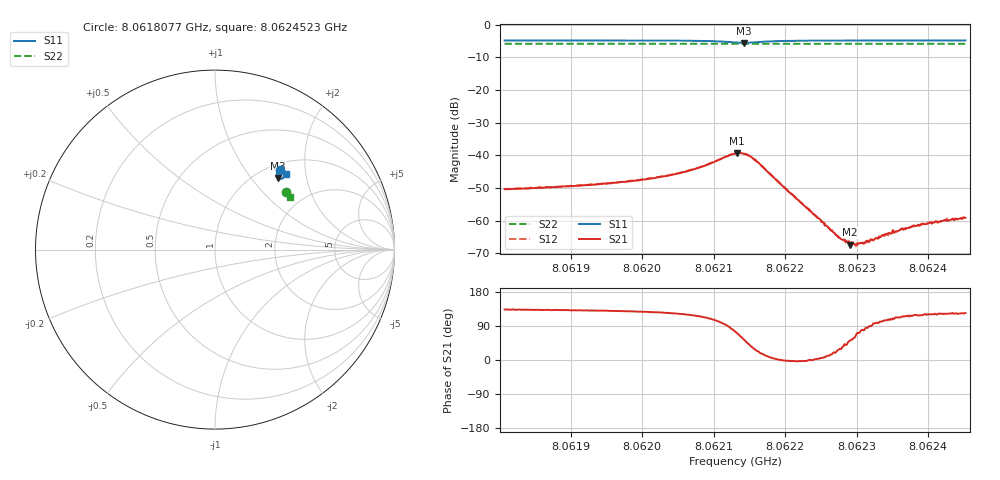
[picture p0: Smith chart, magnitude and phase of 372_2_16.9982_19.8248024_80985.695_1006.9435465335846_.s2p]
#  HZ  S  RI  R  50.00
! Rohde & Schwarz Vector Network Analyzer
! Rohde-Schwarz,ZNB20-2Port,1311601062101988,3.16
! Created: UTC 3/20/2024, 11:08:47 PM
! freq[Hz]  re:S11  im:S11  re:S21  im:S21  re:S12  im:S12  re:S22  im:S22
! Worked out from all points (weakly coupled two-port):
!   401 points, 8.0618077 GHz to 8.0624523 GHz, reference 50 ohm
!   highest |S21| = -39.26 dB at 8.0621332 GHz (marker M1); lowest = -67.4 dB at 8.0622912 GHz (marker M2)
!   lowest |S11| = -5.5 dB at 8.0621429 GHz (marker M3), VSWR 3.25, Z = 61.8 + j68.4 ohm
!   |S11| at or under -10 dB: nowhere
!   |S22| runs from -5.9 to -5.8 dB; largest |S21 - S12| = 0.00074
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8.0618077e9  0.3646 0.4459  -0.00208 0.00221  -0.00195 0.00236  0.3975 0.3233
8.06191567e9  0.3722 0.4394  -0.00225 0.0026  -0.00213 0.00275  0.4017 0.318
8.06198014e9  0.377 0.4343  -0.0025 0.00311  -0.00231 0.00328  0.4042 0.3146
8.06202365e9  0.3807 0.4296  -0.00269 0.00375  -0.00247 0.00394  0.4056 0.3123
8.062072e9  0.3848 0.4203  -0.00281 0.00537  -0.00254 0.00557  0.4074 0.3095
8.06213002e9  0.3661 0.3927  0.00278 0.0103  0.00326 0.0101  0.4082 0.3058
8.06213324e9  0.3618 0.3928  0.00366 0.0103  0.0043 0.00993  0.4082 0.3057
8.06214291e9  0.3492 0.3983  0.0063 0.0084  0.00697 0.00809  0.408 0.3056
8.06215097e9  0.3432 0.4082  0.00753 0.00616  0.00795 0.00567  0.4082 0.3057
8.06216225e9  0.3439 0.4218  0.00718 0.00302  0.00734 0.00252  0.4088 0.3059
8.06223799e9  0.3724 0.4346  0.0013 -8.33e-06  0.00134 -0.000104  0.4128 0.3025
8.06227506e9  0.3784 0.4322  0.000481 0.00025  0.000524 0.000212  0.4143 0.3005
8.06229118e9  0.3801 0.431  0.000269 0.000333  0.000305 0.000306  0.4147 0.2996
8.0622944e9  0.3807 0.4309  0.000271 0.000378  0.000281 0.000351  0.4149 0.2995
8.06230246e9  0.3814 0.4304  0.000144 0.000414  0.000172 0.000404  0.4151 0.299
8.06232019e9  0.3832 0.4292  9.32e-06 0.000507  4.77e-05 0.000515  0.4159 0.2982
8.06234597e9  0.3854 0.4276  -0.000174 0.000625  -0.000138 0.000612  0.4168 0.2968
8.06238143e9  0.3881 0.4254  -0.000395 0.000716  -0.000346 0.000787  0.418 0.295
8.0624201e9  0.3908 0.4233  -0.00053 0.000828  -0.000482 0.000846  0.4196 0.293
8.06242977e9  0.3916 0.4228  -0.000535 0.00085  -0.000525 0.00089  0.4198 0.2925
8.06244106e9  0.3924 0.422  -0.000553 0.000891  -0.000519 0.000894  0.4202 0.2919
8.06245234e9  0.3931 0.4215  -0.000615 0.000915  -0.000556 0.000957  0.4206 0.2913
